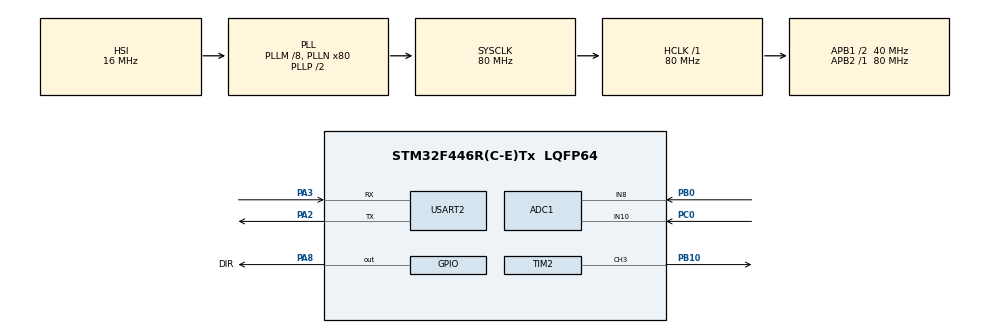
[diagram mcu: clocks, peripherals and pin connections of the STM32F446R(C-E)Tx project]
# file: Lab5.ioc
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ADC1.Channel-1\#ChannelRegularConversion=ADC_CHANNEL_10
ADC1.Channel-2\#ChannelRegularConversion=ADC_CHANNEL_8
ADC1.InjNumberOfConversion=0
ADC1.NbrOfConversion=2
ADC1.NbrOfConversionFlag=1
ADC1.Rank-1\#ChannelRegularConversion=1
ADC1.Rank-2\#ChannelRegularConversion=2
ADC1.SamplingTime-1\#ChannelRegularConversion=ADC_SAMPLETIME_3CYCLES
ADC1.SamplingTime-2\#ChannelRegularConversion=ADC_SAMPLETIME_3CYCLES
ADC1.master=1
Dma.ADC1.0.Direction=DMA_PERIPH_TO_MEMORY
Dma.ADC1.0.FIFOMode=DMA_FIFOMODE_DISABLE
Dma.ADC1.0.Instance=DMA2_Stream0
Dma.ADC1.0.MemDataAlignment=DMA_MDATAALIGN_HALFWORD
Dma.ADC1.0.MemInc=DMA_MINC_ENABLE
Dma.ADC1.0.Mode=DMA_NORMAL
Dma.ADC1.0.PeriphDataAlignment=DMA_PDATAALIGN_HALFWORD
Dma.ADC1.0.PeriphInc=DMA_PINC_DISABLE
Dma.ADC1.0.Priority=DMA_PRIORITY_LOW
Dma.Request0=ADC1
Mcu.Family=STM32F4
Mcu.Name=STM32F446R(C-E)Tx
Mcu.Package=LQFP64
NVIC.DMA2_Stream0_IRQn=true\:0\:0\:false\:false\:true\:false\:true\:true
NVIC.PriorityGroup=NVIC_PRIORITYGROUP_4
NVIC.TIM1_UP_TIM10_IRQn=true\:0\:0\:false\:false\:true\:true\:true\:true
PA2.Mode=Asynchronous
PA2.Signal=USART2_TX
PA3.Mode=Asynchronous
PA3.Signal=USART2_RX
PA8.GPIO_Label=DIR
PA8.Signal=GPIO_Output
PB0.Signal=ADCx_IN8
PB10.Signal=S_TIM2_CH3
PC0.Signal=ADCx_IN10
ProjectManager.HeapSize=0x200
ProjectManager.StackSize=0x400
ProjectManager.TargetToolchain=STM32CubeIDE
RCC.AHBFreq_Value=80000000
RCC.APB1CLKDivider=RCC_HCLK_DIV2
RCC.APB1Freq_Value=40000000
RCC.APB1TimFreq_Value=80000000
RCC.APB2Freq_Value=80000000
RCC.APB2TimFreq_Value=80000000
RCC.CortexFreq_Value=80000000
RCC.HCLKFreq_Value=80000000
RCC.PLLM=8
RCC.PLLN=80
RCC.SYSCLKFreq_VALUE=80000000
RCC.SYSCLKSource=RCC_SYSCLKSOURCE_PLLCLK
RCC.USBFreq_Value=80000000
RCC.VCOOutputFreq_Value=160000000
SH.ADCx_IN10.0=ADC1_IN10,IN10
SH.ADCx_IN8.0=ADC1_IN8,IN8
SH.S_TIM2_CH3.0=TIM2_CH3,PWM Generation3 CH3
TIM10.Period=999
TIM10.Prescaler=79
TIM2.Channel-PWM\ Generation3\ CH3=TIM_CHANNEL_3
TIM2.Period=99
TIM2.Prescaler=39
USART2.VirtualMode=VM_ASYNC
VP_TIM10_VS_ClockSourceINT.Mode=Enable_Timer
VP_TIM2_VS_ClockSourceINT.Mode=Internal
board=custom

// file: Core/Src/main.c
/* USER CODE BEGIN Header */
/**
  ******************************************************************************
  * @file           : main.c
  * @brief          : Main program body
  ******************************************************************************
  * @attention
  *
  * Copyright (c) 2024 STMicroelectronics.
  * All rights reserved.
  *
  * This software is licensed under terms that can be found in the LICENSE file
  * in the root directory of this software component.
  * If no LICENSE file comes with this software, it is provided AS-IS.
  *
  ******************************************************************************
  */
/* USER CODE END Header */
#include "main.h"

ADC_HandleTypeDef hadc1;
DMA_HandleTypeDef hdma_adc1;

TIM_HandleTypeDef htim2;
TIM_HandleTypeDef htim10;

UART_HandleTypeDef huart2;

void SystemClock_Config(void);
static void MX_GPIO_Init(void);
static void MX_DMA_Init(void);
static void MX_ADC1_Init(void);
static void MX_TIM10_Init(void);
static void MX_USART2_UART_Init(void);
static void MX_TIM2_Init(void);

/* USER CODE BEGIN 0 */
#define message_header 0xABCD
#define message_terminator 0xBEDA

uint16_t adc_value[2];
uint32_t timer = 0;

struct message{
  uint16_t header;
  uint16_t motor_pos;
  uint16_t pot_pos;
  uint16_t error;
  uint16_t terminator;
};

struct message msg;

/* USER CODE END 0 */

int main(void)
{

  /* MCU Configuration--------------------------------------------------------*/

  /* Reset of all peripherals, Initializes the Flash interface and the Systick. */
  HAL_Init();

  /* Configure the system clock */
  SystemClock_Config();

  /* Initialize all configured peripherals */
  MX_GPIO_Init();
  MX_DMA_Init();
  MX_ADC1_Init();
  MX_TIM10_Init();
  MX_USART2_UART_Init();
  MX_TIM2_Init();
  /* USER CODE BEGIN 2 */
  HAL_TIM_Base_Start_IT(&htim10); // millis
  //start pwm
  HAL_TIM_PWM_Start(&htim2, TIM_CHANNEL_3);

  /* USER CODE END 2 */

  /* Infinite loop */
  /* USER CODE BEGIN WHILE */

  while (1)
  {
//    HAL_GPIO_TogglePin(DIR_GPIO_Port, DIR_Pin);
//    HAL_Delay(1000);
//    // set pwm duty cycle
//    __HAL_TIM_SET_COMPARE(&htim2, TIM_CHANNEL_3, 100);
    /* USER CODE END WHILE */

  }
}

void SystemClock_Config(void)
{
  RCC_OscInitTypeDef RCC_OscInitStruct = {0};
  RCC_ClkInitTypeDef RCC_ClkInitStruct = {0};

  /** Configure the main internal regulator output voltage
  */
  __HAL_RCC_PWR_CLK_ENABLE();
  __HAL_PWR_VOLTAGESCALING_CONFIG(PWR_REGULATOR_VOLTAGE_SCALE3);

  /** Initializes the RCC Oscillators according to the specified parameters
  * in the RCC_OscInitTypeDef structure.
  */
  RCC_OscInitStruct.OscillatorType = RCC_OSCILLATORTYPE_HSI;
  RCC_OscInitStruct.HSIState = RCC_HSI_ON;
  RCC_OscInitStruct.HSICalibrationValue = RCC_HSICALIBRATION_DEFAULT;
  RCC_OscInitStruct.PLL.PLLState = RCC_PLL_ON;
  RCC_OscInitStruct.PLL.PLLSource = RCC_PLLSOURCE_HSI;
  RCC_OscInitStruct.PLL.PLLM = 8;
  RCC_OscInitStruct.PLL.PLLN = 80;
  RCC_OscInitStruct.PLL.PLLP = RCC_PLLP_DIV2;
  RCC_OscInitStruct.PLL.PLLQ = 2;
  RCC_OscInitStruct.PLL.PLLR = 2;
  if (HAL_RCC_OscConfig(&RCC_OscInitStruct) != HAL_OK)
  {
    Error_Handler();
  }

  /** Initializes the CPU, AHB and APB buses clocks
  */
  RCC_ClkInitStruct.ClockType = RCC_CLOCKTYPE_HCLK|RCC_CLOCKTYPE_SYSCLK
                              |RCC_CLOCKTYPE_PCLK1|RCC_CLOCKTYPE_PCLK2;
  RCC_ClkInitStruct.SYSCLKSource = RCC_SYSCLKSOURCE_PLLCLK;
  RCC_ClkInitStruct.AHBCLKDivider = RCC_SYSCLK_DIV1;
  RCC_ClkInitStruct.APB1CLKDivider = RCC_HCLK_DIV2;
  RCC_ClkInitStruct.APB2CLKDivider = RCC_HCLK_DIV1;

  if (HAL_RCC_ClockConfig(&RCC_ClkInitStruct, FLASH_LATENCY_2) != HAL_OK)
  {
    Error_Handler();
  }
}

static void MX_ADC1_Init(void)
{

  ADC_ChannelConfTypeDef sConfig = {0};

  /** Configure the global features of the ADC (Clock, Resolution, Data Alignment and number of conversion)
  */
  hadc1.Instance = ADC1;
  hadc1.Init.ClockPrescaler = ADC_CLOCK_SYNC_PCLK_DIV4;
  hadc1.Init.Resolution = ADC_RESOLUTION_12B;
  hadc1.Init.ScanConvMode = ENABLE;
  hadc1.Init.ContinuousConvMode = DISABLE;
  hadc1.Init.DiscontinuousConvMode = DISABLE;
  hadc1.Init.ExternalTrigConvEdge = ADC_EXTERNALTRIGCONVEDGE_NONE;
  hadc1.Init.ExternalTrigConv = ADC_SOFTWARE_START;
  hadc1.Init.DataAlign = ADC_DATAALIGN_RIGHT;
  hadc1.Init.NbrOfConversion = 2;
  hadc1.Init.DMAContinuousRequests = DISABLE;
  hadc1.Init.EOCSelection = ADC_EOC_SINGLE_CONV;
  if (HAL_ADC_Init(&hadc1) != HAL_OK)
  {
    Error_Handler();
  }

  /** Configure for the selected ADC regular channel its corresponding rank in the sequencer and its sample time.
  */
  sConfig.Channel = ADC_CHANNEL_10;
  sConfig.Rank = 1;
  sConfig.SamplingTime = ADC_SAMPLETIME_3CYCLES;
  if (HAL_ADC_ConfigChannel(&hadc1, &sConfig) != HAL_OK)
  {
    Error_Handler();
  }

  /** Configure for the selected ADC regular channel its corresponding rank in the sequencer and its sample time.
  */
  sConfig.Channel = ADC_CHANNEL_8;
  sConfig.Rank = 2;
  if (HAL_ADC_ConfigChannel(&hadc1, &sConfig) != HAL_OK)
  {
    Error_Handler();
  }

}

static void MX_TIM2_Init(void)
{

  TIM_ClockConfigTypeDef sClockSourceConfig = {0};
  TIM_MasterConfigTypeDef sMasterConfig = {0};
  TIM_OC_InitTypeDef sConfigOC = {0};

  htim2.Instance = TIM2;
  htim2.Init.Prescaler = 39;
  htim2.Init.CounterMode = TIM_COUNTERMODE_UP;
  htim2.Init.Period = 99;
  htim2.Init.ClockDivision = TIM_CLOCKDIVISION_DIV1;
  htim2.Init.AutoReloadPreload = TIM_AUTORELOAD_PRELOAD_DISABLE;
  if (HAL_TIM_Base_Init(&htim2) != HAL_OK)
  {
    Error_Handler();
  }
  sClockSourceConfig.ClockSource = TIM_CLOCKSOURCE_INTERNAL;
  if (HAL_TIM_ConfigClockSource(&htim2, &sClockSourceConfig) != HAL_OK)
  {
    Error_Handler();
  }
  if (HAL_TIM_PWM_Init(&htim2) != HAL_OK)
  {
    Error_Handler();
  }
  sMasterConfig.MasterOutputTrigger = TIM_TRGO_RESET;
  sMasterConfig.MasterSlaveMode = TIM_MASTERSLAVEMODE_DISABLE;
  if (HAL_TIMEx_MasterConfigSynchronization(&htim2, &sMasterConfig) != HAL_OK)
  {
    Error_Handler();
  }
  sConfigOC.OCMode = TIM_OCMODE_PWM1;
  sConfigOC.Pulse = 0;
  sConfigOC.OCPolarity = TIM_OCPOLARITY_HIGH;
  sConfigOC.OCFastMode = TIM_OCFAST_DISABLE;
  if (HAL_TIM_PWM_ConfigChannel(&htim2, &sConfigOC, TIM_CHANNEL_3) != HAL_OK)
  {
    Error_Handler();
  }
  HAL_TIM_MspPostInit(&htim2);

}

static void MX_TIM10_Init(void)
{

  htim10.Instance = TIM10;
  htim10.Init.Prescaler = 79;
  htim10.Init.CounterMode = TIM_COUNTERMODE_UP;
  htim10.Init.Period = 999;
  htim10.Init.ClockDivision = TIM_CLOCKDIVISION_DIV1;
  htim10.Init.AutoReloadPreload = TIM_AUTORELOAD_PRELOAD_DISABLE;
  if (HAL_TIM_Base_Init(&htim10) != HAL_OK)
  {
    Error_Handler();
  }

}

static void MX_USART2_UART_Init(void)
{

  huart2.Instance = USART2;
  huart2.Init.BaudRate = 115200;
  huart2.Init.WordLength = UART_WORDLENGTH_8B;
  huart2.Init.StopBits = UART_STOPBITS_1;
  huart2.Init.Parity = UART_PARITY_NONE;
  huart2.Init.Mode = UART_MODE_TX_RX;
  huart2.Init.HwFlowCtl = UART_HWCONTROL_NONE;
  huart2.Init.OverSampling = UART_OVERSAMPLING_16;
  if (HAL_UART_Init(&huart2) != HAL_OK)
  {
    Error_Handler();
  }

}

static void MX_DMA_Init(void)
{

  /* DMA controller clock enable */
  __HAL_RCC_DMA2_CLK_ENABLE();

  /* DMA interrupt init */
  /* DMA2_Stream0_IRQn interrupt configuration */
  HAL_NVIC_SetPriority(DMA2_Stream0_IRQn, 0, 0);
  HAL_NVIC_EnableIRQ(DMA2_Stream0_IRQn);

}

static void MX_GPIO_Init(void)
{
  GPIO_InitTypeDef GPIO_InitStruct = {0};

  /* GPIO Ports Clock Enable */
  __HAL_RCC_GPIOC_CLK_ENABLE();
  __HAL_RCC_GPIOA_CLK_ENABLE();
  __HAL_RCC_GPIOB_CLK_ENABLE();

  /*Configure GPIO pin Output Level */
  HAL_GPIO_WritePin(DIR_GPIO_Port, DIR_Pin, GPIO_PIN_RESET);

  /*Configure GPIO pin : DIR_Pin */
  GPIO_InitStruct.Pin = DIR_Pin;
  GPIO_InitStruct.Mode = GPIO_MODE_OUTPUT_PP;
  GPIO_InitStruct.Pull = GPIO_NOPULL;
  GPIO_InitStruct.Speed = GPIO_SPEED_FREQ_LOW;
  HAL_GPIO_Init(DIR_GPIO_Port, &GPIO_InitStruct);

}

/* USER CODE BEGIN 4 */
void set_control(uint16_t error){
  if (abs((int)pow(2, 11) - error) > delta) {
    if(error < pow(2, 11)){
      HAL_GPIO_WritePin(DIR_GPIO_Port, DIR_Pin, GPIO_PIN_SET);
    } else {
      HAL_GPIO_WritePin(DIR_GPIO_Port, DIR_Pin, GPIO_PIN_RESET);
    }
    i += error - pow(2, 11);

    uint32_t pwm = abs(5 * 100 * ((float) error - pow(2, 11)) / pow(2, 11)) + i;
    __HAL_TIM_SET_COMPARE(&htim2, TIM_CHANNEL_3, pwm);
  } else {
	__HAL_TIM_SET_COMPARE(&htim2, TIM_CHANNEL_3, 0);
  }
}

void HAL_TIM_PeriodElapsedCallback(TIM_HandleTypeDef *htim)
{
  if(htim->Instance == TIM10)
  {
    msg.header = message_header;
    msg.motor_pos = adc_value[0];
    msg.pot_pos = adc_value[1];
    msg.terminator = message_terminator;
    uint16_t error = pow(2, 11) + msg.pot_pos - (msg.motor_pos);
    if(msg.pot_pos > 4000 || msg.pot_pos < 200) {
      error = pow(2, 11);
    }
    msg.error =  error;
    // char buffer[100];
    // sprintf(buffer, "adc0: %d, adc1: %d\n", msg.motor_pos, msg.pot_pos);
    // HAL_UART_Transmit(&huart2, (uint8_t*)buffer, strlen(buffer), 1000); // send message
    HAL_UART_Transmit(&huart2, (uint8_t*)&msg, sizeof(msg), 1000); // send message
    HAL_ADC_Start_DMA(&hadc1, (uint32_t*)adc_value, 2); // start ADC conversion
    timer++;

    set_control(error);
  }
}
/* USER CODE END 4 */

void Error_Handler(void)
{
  __disable_irq();
  while (1)
  {
  }
}
